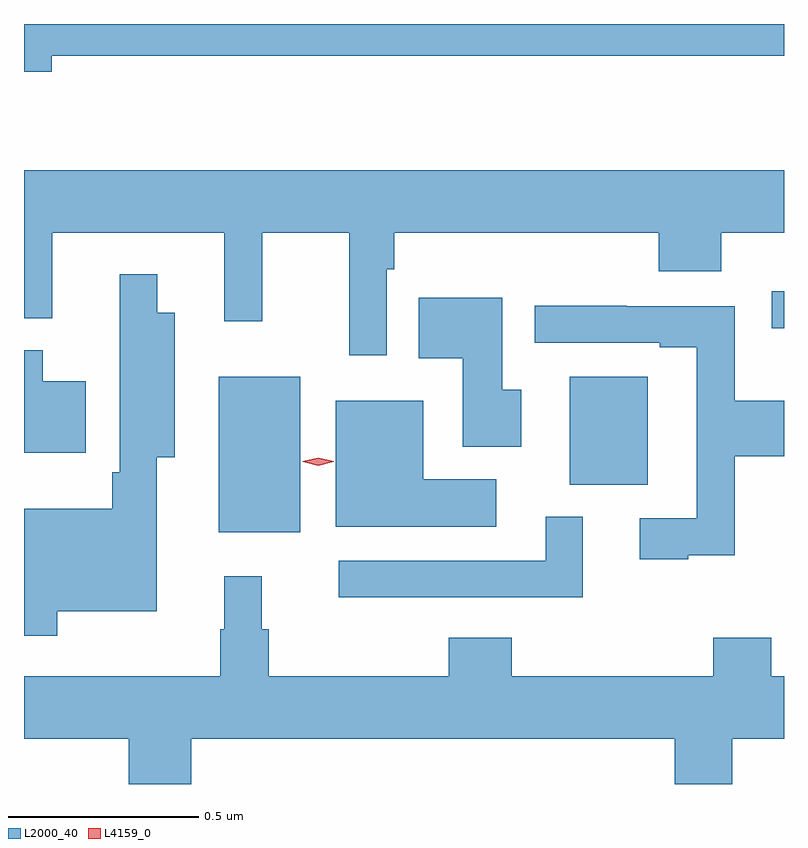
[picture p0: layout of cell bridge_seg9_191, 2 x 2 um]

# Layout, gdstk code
import gdstk
lib = gdstk.Library(unit=1e-6, precision=1e-09)
def R(c, l, rs):  # rectangles x0, y0, x1, y1
    for r in rs: c.add(gdstk.rectangle(r[:2], r[2:], *l))
def P(c, l, *ps):  # polygons
    for p in ps: c.add(gdstk.Polygon(p, *l))
L2000_40 = (2000, 40)
L4159_0 = (4159, 0)

bridge_seg9_191 = lib.new_cell('bridge_seg9_191')
R(bridge_seg9_191, L2000_40, [(215.225,1218.275,215.44,1218.685), (216.149,1218.401,216.355,1218.685), (216.681,1218.812,216.713,1218.91)])
P(bridge_seg9_191, L2000_40, [(214.786,1219.53),(216.713,1219.53),(216.713,1219.613),(214.713,1219.613),(214.713,1219.487),(214.786,1219.487)],
  [(215.667,1218.968),(215.687,1218.968),(215.687,1219.064),(216.383,1219.064),(216.383,1218.962),(216.548,1218.962),(216.548,1219.064),(216.713,1219.064),(216.713,1219.228),(214.713,1219.228),(214.713,1218.839),(214.787,1218.839),(214.787,1219.064),(215.24,1219.064),(215.24,1218.831),(215.34,1218.831),(215.34,1219.064),(215.569,1219.064),(215.569,1218.741),(215.667,1218.741)],
  [(214.801,1218.068),(215.062,1218.068),(215.062,1218.473),(215.11,1218.473),(215.11,1218.853),(215.063,1218.853),(215.063,1218.955),(214.965,1218.955),(214.965,1218.433),(214.945,1218.433),(214.945,1218.337),(214.713,1218.337),(214.713,1218.003),(214.801,1218.003)],
  [(216.022,1218.651),(215.971,1218.651),(215.971,1218.892),(215.752,1218.892),(215.752,1218.734),(215.867,1218.734),(215.867,1218.5),(216.022,1218.5)],
  [(216.461,1218.215),(216.584,1218.215),(216.584,1218.475),(216.713,1218.475),(216.713,1218.622),(216.584,1218.622),(216.584,1218.87),(216.299,1218.87),(216.299,1218.872),(216.057,1218.872),(216.057,1218.774),(216.386,1218.774),(216.386,1218.762),(216.483,1218.762),(216.483,1218.312),(216.333,1218.312),(216.333,1218.204),(216.461,1218.204)],
  [(214.876,1218.673),(214.762,1218.673),(214.762,1218.754),(214.713,1218.754),(214.713,1218.485),(214.876,1218.485)],
  [(215.956,1218.415),(215.764,1218.415),(215.764,1218.622),(215.534,1218.622),(215.534,1218.29),(215.956,1218.29)],
  [(216.184,1218.316),(216.086,1218.316),(216.086,1218.201),(215.541,1218.201),(215.541,1218.105),(216.184,1218.105)],
  [(215.153,1217.732),(216.425,1217.732),(216.425,1217.613),(216.577,1217.613),(216.577,1217.732),(216.713,1217.732),(216.713,1217.896),(216.679,1217.896),(216.679,1217.998),(216.527,1217.998),(216.527,1217.896),(215.996,1217.896),(215.996,1217.998),(215.831,1217.998),(215.831,1217.896),(215.357,1217.896),(215.357,1218.02),(215.339,1218.02),(215.339,1218.16),(215.24,1218.16),(215.24,1218.02),(215.229,1218.02),(215.229,1217.896),(214.713,1217.896),(214.713,1217.732),(214.988,1217.732),(214.988,1217.613),(215.153,1217.613)])
P(bridge_seg9_191, L4159_0, [(215.487,1218.451),(215.447,1218.461),(215.446,1218.461),(215.447,1218.462),(215.487,1218.471),(215.528,1218.462),(215.528,1218.461),(215.528,1218.461)])

lib.write_gds('bridge_seg9_191.gds')
